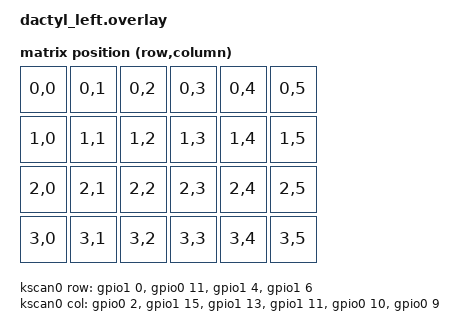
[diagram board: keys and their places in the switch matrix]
#include <dt-bindings/gpio/gpio.h>
#include <dt-bindings/zmk/matrix_transform.h>

/ {
    chosen {
        zmk,kscan = &kscan0;
        zmk,matrix_transform = &default_transform;
    };

    default_transform: keymap_transform_0 {
        compatible = "zmk,matrix-transform";
        columns = <6>;
        rows = <4>;
        map = <
            RC(0,0) RC(0,1) RC(0,2) RC(0,3) RC(0,4) RC(0,5)
            RC(1,0) RC(1,1) RC(1,2) RC(1,3) RC(1,4) RC(1,5)
            RC(2,0) RC(2,1) RC(2,2) RC(2,3) RC(2,4) RC(2,5)
            RC(3,0) RC(3,1) RC(3,2) RC(3,3) RC(3,4) RC(3,5)
        >;
    };

    kscan0: kscan {
        compatible = "zmk,kscan-gpio-matrix";
        diode-direction = "col2row";

        /*
         * Левая половина, ваши пины:
         * row0 - 100 => P1.00
         * row1 - 011 => P0.11
         * row2 - 104 => P1.04
         * row3 - 106 => P1.06
         * col0 - 009 => P0.09
         * col1 - 010 => P0.10
         * col2 - 111 => P1.11
         * col3 - 113 => P1.13
         * col4 - 115 => P1.15
         * col5 - 002 => P0.02
         */
        row-gpios =
            <&gpio1 0 (GPIO_ACTIVE_HIGH | GPIO_PULL_DOWN)>,
            <&gpio0 11 (GPIO_ACTIVE_HIGH | GPIO_PULL_DOWN)>,
            <&gpio1 4 (GPIO_ACTIVE_HIGH | GPIO_PULL_DOWN)>,
            <&gpio1 6 (GPIO_ACTIVE_HIGH | GPIO_PULL_DOWN)>;

col-gpios
    = <&gpio0 2 GPIO_ACTIVE_HIGH>, 
      <&gpio1 15 GPIO_ACTIVE_HIGH>, 
      <&gpio1 13 GPIO_ACTIVE_HIGH>, 
      <&gpio1 11 GPIO_ACTIVE_HIGH>, 
      <&gpio0 10 GPIO_ACTIVE_HIGH>, 
      <&gpio0 9 GPIO_ACTIVE_HIGH>;

    };
};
